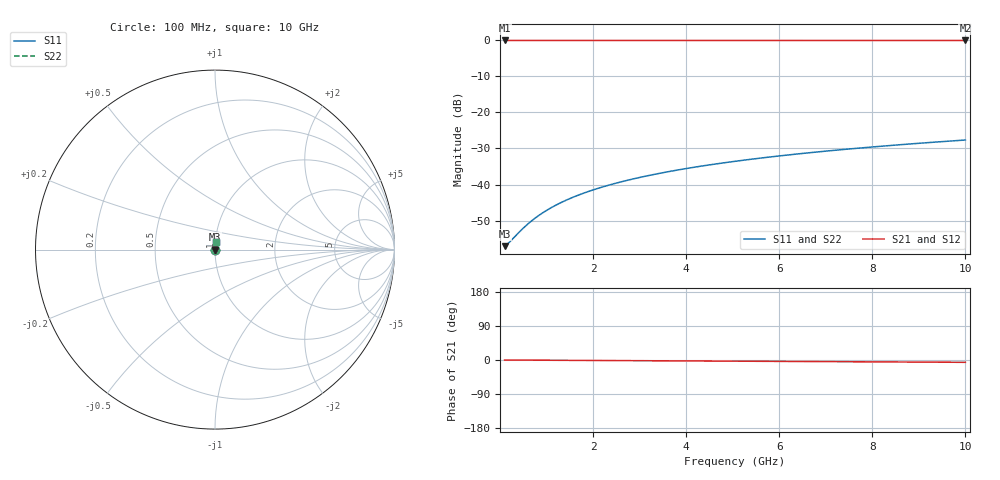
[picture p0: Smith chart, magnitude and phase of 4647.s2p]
# Hz S RI R 50.00
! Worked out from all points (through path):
!   100 points, 100 MHz to 10 GHz, reference 50 ohm
!   highest |S21| = -0.01 dB at 100 MHz (marker M1); lowest = 0.0 dB at 10 GHz (marker M2)
!   lowest |S11| = -57.1 dB at 100 MHz (marker M3), VSWR 1.00, Z = 50.1 + j0.0415 ohm
!   |S11| at or under -10 dB: start of sweep to end of sweep
!   |S22| runs from -57.1 to -27.6 dB; largest |S21 - S12| = 0
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1e8  0.00133 0.000414  0.9987 -0.00107  0.9987 -0.00107  0.00133 0.000414
2e8  0.00134 0.000827  0.9987 -0.00213  0.9987 -0.00213  0.00134 0.000827
4e8  0.00136 0.00165  0.9986 -0.00426  0.9986 -0.00426  0.00136 0.00165
5e8  0.00137 0.00207  0.9986 -0.00533  0.9986 -0.00533  0.00137 0.00207
6e8  0.00138 0.00248  0.9986 -0.00639  0.9986 -0.00639  0.00138 0.00248
7e8  0.00138 0.00289  0.9986 -0.00746  0.9986 -0.00746  0.00138 0.00289
9e8  0.0014 0.00372  0.9986 -0.00959  0.9986 -0.00959  0.0014 0.00372
1.1e9  0.00143 0.00455  0.9985 -0.0117  0.9985 -0.0117  0.00143 0.00455
1.3e9  0.00145 0.00537  0.9985 -0.0139  0.9985 -0.0139  0.00145 0.00537
1.5e9  0.00148 0.0062  0.9985 -0.016  0.9985 -0.016  0.00148 0.0062
1.8e9  0.00153 0.00744  0.9984 -0.0192  0.9984 -0.0192  0.00153 0.00744
2.1e9  0.00159 0.00868  0.9983 -0.0224  0.9983 -0.0224  0.00159 0.00868
2.5e9  0.00167 0.0103  0.9982 -0.0266  0.9982 -0.0266  0.00167 0.0103
2.9e9  0.00178 0.012  0.998 -0.0309  0.998 -0.0309  0.00178 0.012
3.4e9  0.00192 0.014  0.9978 -0.0362  0.9978 -0.0362  0.00192 0.014
4.2e9  0.0022 0.0173  0.9974 -0.0448  0.9974 -0.0448  0.0022 0.0173
5.1e9  0.00258 0.021  0.9968 -0.0543  0.9968 -0.0543  0.00258 0.021
5.9e9  0.00297 0.0243  0.9962 -0.0629  0.9962 -0.0629  0.00297 0.0243
6.7e9  0.00343 0.0276  0.9956 -0.0714  0.9956 -0.0714  0.00343 0.0276
7.5e9  0.00394 0.0309  0.9948 -0.0799  0.9948 -0.0799  0.00394 0.0309
8.4e9  0.00458 0.0345  0.9939 -0.0894  0.9939 -0.0894  0.00458 0.0345
1e10  0.00589 0.041  0.9919 -0.1064  0.9919 -0.1064  0.00589 0.041
